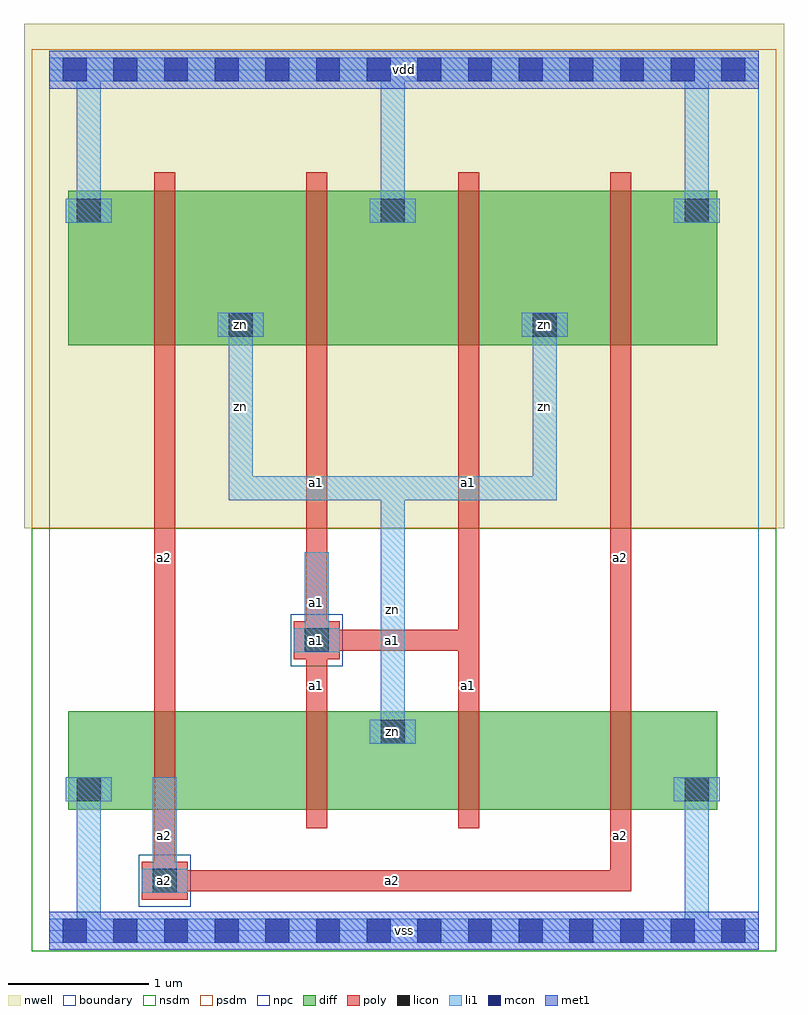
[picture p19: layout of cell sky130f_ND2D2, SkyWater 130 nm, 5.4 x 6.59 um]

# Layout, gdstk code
import gdstk
lib = gdstk.Library(unit=1e-6, precision=1e-09)
def R(c, l, rs):  # rectangles x0, y0, x1, y1
    for r in rs: c.add(gdstk.rectangle(r[:2], r[2:], *l))
def A(c, l, x, y, w, h, nx, ny, dx, dy):  # array of equal rectangles
    R(c, l, [(x+i*dx, y+j*dy, x+i*dx+w, y+j*dy+h) for i in range(nx) for j in range(ny)])
L0_0 = (0, 0)
nwell = (64, 20)
diff = (65, 20)
poly = (66, 20)
licon = (66, 44)
li1 = (67, 20)
mcon = (67, 44)
met1 = (68, 20)
nsdm = (93, 44)
psdm = (94, 20)
npc = (95, 20)
boundary = (235, 4)

sky130f_nd2d2 = lib.new_cell('sky130f_ND2D2')
R(sky130f_nd2d2, nwell, [(-0.18,2.86,5.22,6.445)])
A(sky130f_nd2d2, diff, 0.135, 0.86, 1.37, 0.7, 4, 1, 1.08, 0)
A(sky130f_nd2d2, diff, 0.135, 4.16, 1.37, 1.1, 4, 1, 1.08, 0)
A(sky130f_nd2d2, diff, 0.135, 4.97, 0.29, 0.29, 3, 1, 2.16, 0)
R(sky130f_nd2d2, diff, [(0.135,0.86,0.425,1.15), (4.455,0.86,4.745,1.15), (2.295,1.27,2.585,1.56), (1.215,4.16,1.505,4.45), (3.375,4.16,3.665,4.45)])
A(sky130f_nd2d2, poly, 0.745, 0.73, 0.15, 0.96, 4, 1, 1.08, 0)
A(sky130f_nd2d2, poly, 0.745, 4.03, 0.15, 1.36, 4, 1, 1.08, 0)
R(sky130f_nd2d2, poly, [(0.655,0.22,0.985,0.49), (0.745,0.28,0.895,1.08), (0.745,0.28,4.135,0.43), (3.985,0.28,4.135,1.08), (0.745,0.93,0.895,4.38), (3.985,0.93,4.135,4.38), (1.825,1.34,1.975,2.14), (2.905,1.34,3.055,2.14), (1.735,1.93,2.065,2.2), (1.825,1.99,3.055,2.14), (1.825,1.99,1.975,4.38), (2.905,1.99,3.055,4.38)])
A(sky130f_nd2d2, licon, 0.195, 5.03, 0.17, 0.17, 3, 1, 2.16, 0)
R(sky130f_nd2d2, licon, [(0.735,0.27,0.905,0.44), (0.195,0.92,0.365,1.09), (4.515,0.92,4.685,1.09), (2.355,1.33,2.525,1.5), (1.815,1.98,1.985,2.15), (1.275,4.22,1.445,4.39), (3.435,4.22,3.605,4.39)])
A(sky130f_nd2d2, li1, 0.115, 5.03, 0.33, 0.17, 3, 1, 2.16, 0)
A(sky130f_nd2d2, li1, 0.195, 5.03, 0.17, 1.03, 3, 1, 2.16, 0)
R(sky130f_nd2d2, li1, [(0,-0.085,5.04,0.085), (0.195,0.06,0.365,1.09), (4.515,0.06,4.685,1.09), (0.655,0.27,0.985,0.44), (0.735,0.27,0.905,1.09), (0.115,0.92,0.445,1.09), (4.435,0.92,4.765,1.09), (2.275,1.33,2.605,1.5), (2.355,1.33,2.525,3.23), (1.735,1.98,2.065,2.15), (1.815,1.98,1.985,2.69), (1.275,3.06,2.525,3.23), (1.275,3.06,1.445,4.39), (2.355,3.06,3.605,3.23), (3.435,3.06,3.605,4.39), (1.195,4.22,1.525,4.39), (3.355,4.22,3.685,4.39), (0,6.035,5.04,6.205)])
A(sky130f_nd2d2, mcon, 0.095, -0.085, 0.17, 0.17, 14, 2, 0.36, 6.12)
R(sky130f_nd2d2, met1, [(0,-0.135,5.04,0.135), (0,5.985,5.04,6.255)])
R(sky130f_nd2d2, nsdm, [(-0.125,-0.145,5.165,0.145), (-0.125,0.145,5.165,2.86)])
R(sky130f_nd2d2, psdm, [(-0.125,2.86,5.165,5.975), (-0.125,5.975,5.165,6.265)])
R(sky130f_nd2d2, npc, [(0.635,0.17,1.005,0.54), (1.715,1.88,2.085,2.25)])
R(sky130f_nd2d2, boundary, [(0,0,5.04,6.12)])
sky130f_nd2d2.add(gdstk.FlexPath([(0.115,0.355),(4.765,0.355)], 0, ends="flush", simple_path=True, layer=0, datatype=0))  # L0_0
sky130f_nd2d2.add(gdstk.FlexPath([(0.115,1.005),(4.765,1.005)], 0, ends="flush", simple_path=True, layer=0, datatype=0))  # L0_0
sky130f_nd2d2.add(gdstk.FlexPath([(0.115,1.415),(4.765,1.415)], 0, ends="flush", simple_path=True, layer=0, datatype=0))  # L0_0
sky130f_nd2d2.add(gdstk.FlexPath([(0.115,2.065),(4.765,2.065)], 0, ends="flush", simple_path=True, layer=0, datatype=0))  # L0_0
sky130f_nd2d2.add(gdstk.FlexPath([(0.115,2.605),(4.765,2.605)], 0, ends="flush", simple_path=True, layer=0, datatype=0))  # L0_0
sky130f_nd2d2.add(gdstk.FlexPath([(0.115,3.145),(4.765,3.145)], 0, ends="flush", simple_path=True, layer=0, datatype=0))  # L0_0
sky130f_nd2d2.add(gdstk.FlexPath([(0.115,4.305),(4.765,4.305)], 0, ends="flush", simple_path=True, layer=0, datatype=0))  # L0_0
sky130f_nd2d2.add(gdstk.FlexPath([(0.115,4.775),(4.765,4.775)], 0, ends="flush", simple_path=True, layer=0, datatype=0))  # L0_0
sky130f_nd2d2.add(gdstk.FlexPath([(0.115,5.115),(4.765,5.115)], 0, ends="flush", simple_path=True, layer=0, datatype=0))  # L0_0
sky130f_nd2d2.add(gdstk.FlexPath([(0.115,5.765),(4.765,5.765)], 0, ends="flush", simple_path=True, layer=0, datatype=0))  # L0_0
sky130f_nd2d2.add(gdstk.FlexPath([(0.28,0.06),(0.28,6.06)], 0, ends="flush", simple_path=True, layer=0, datatype=0))  # L0_0
sky130f_nd2d2.add(gdstk.FlexPath([(0.82,0.06),(0.82,6.06)], 0, ends="flush", simple_path=True, layer=0, datatype=0))  # L0_0
sky130f_nd2d2.add(gdstk.FlexPath([(1.36,0.06),(1.36,6.06)], 0, ends="flush", simple_path=True, layer=0, datatype=0))  # L0_0
sky130f_nd2d2.add(gdstk.FlexPath([(1.9,0.06),(1.9,6.06)], 0, ends="flush", simple_path=True, layer=0, datatype=0))  # L0_0
sky130f_nd2d2.add(gdstk.FlexPath([(2.44,0.06),(2.44,6.06)], 0, ends="flush", simple_path=True, layer=0, datatype=0))  # L0_0
sky130f_nd2d2.add(gdstk.FlexPath([(2.98,0.06),(2.98,6.06)], 0, ends="flush", simple_path=True, layer=0, datatype=0))  # L0_0
sky130f_nd2d2.add(gdstk.FlexPath([(3.52,0.06),(3.52,6.06)], 0, ends="flush", simple_path=True, layer=0, datatype=0))  # L0_0
sky130f_nd2d2.add(gdstk.FlexPath([(4.06,0.06),(4.06,6.06)], 0, ends="flush", simple_path=True, layer=0, datatype=0))  # L0_0
sky130f_nd2d2.add(gdstk.FlexPath([(4.6,0.06),(4.6,6.06)], 0, ends="flush", simple_path=True, layer=0, datatype=0))  # L0_0
sky130f_nd2d2.add(gdstk.Label('zn', (2.44,1.415), layer=65, texttype=20))
sky130f_nd2d2.add(gdstk.Label('zn', (1.36,4.305), layer=65, texttype=20))
sky130f_nd2d2.add(gdstk.Label('zn', (3.52,4.305), layer=65, texttype=20))
sky130f_nd2d2.add(gdstk.Label('a1', (1.9,1.74), layer=66, texttype=20))
sky130f_nd2d2.add(gdstk.Label('a1', (2.44,2.065), layer=66, texttype=20))
sky130f_nd2d2.add(gdstk.Label('a1', (2.98,1.74), layer=66, texttype=20))
sky130f_nd2d2.add(gdstk.Label('a1', (2.98,3.185), layer=66, texttype=20))
sky130f_nd2d2.add(gdstk.Label('a1', (1.9,3.185), layer=66, texttype=20))
sky130f_nd2d2.add(gdstk.Label('a1', (1.9,2.065), layer=66, texttype=20))
sky130f_nd2d2.add(gdstk.Label('a2', (0.82,0.68), layer=66, texttype=20))
sky130f_nd2d2.add(gdstk.Label('a2', (2.44,0.355), layer=66, texttype=20))
sky130f_nd2d2.add(gdstk.Label('a2', (4.06,0.68), layer=66, texttype=20))
sky130f_nd2d2.add(gdstk.Label('a2', (0.82,2.655), layer=66, texttype=20))
sky130f_nd2d2.add(gdstk.Label('a2', (4.06,2.655), layer=66, texttype=20))
sky130f_nd2d2.add(gdstk.Label('a2', (0.82,0.355), layer=66, texttype=20))
sky130f_nd2d2.add(gdstk.Label('zn', (2.44,1.415), layer=66, texttype=44))
sky130f_nd2d2.add(gdstk.Label('zn', (1.36,4.305), layer=66, texttype=44))
sky130f_nd2d2.add(gdstk.Label('zn', (3.52,4.305), layer=66, texttype=44))
sky130f_nd2d2.add(gdstk.Label('a1', (1.9,2.065), layer=66, texttype=44))
sky130f_nd2d2.add(gdstk.Label('a2', (0.82,0.355), layer=66, texttype=44))
sky130f_nd2d2.add(gdstk.Label('zn', (2.44,1.415), layer=67, texttype=5))
sky130f_nd2d2.add(gdstk.Label('zn', (1.36,4.305), layer=67, texttype=5))
sky130f_nd2d2.add(gdstk.Label('zn', (3.52,4.305), layer=67, texttype=5))
sky130f_nd2d2.add(gdstk.Label('zn', (2.44,2.28), layer=67, texttype=5))
sky130f_nd2d2.add(gdstk.Label('zn', (1.9,3.145), layer=67, texttype=5))
sky130f_nd2d2.add(gdstk.Label('zn', (1.36,3.725), layer=67, texttype=5))
sky130f_nd2d2.add(gdstk.Label('zn', (2.98,3.145), layer=67, texttype=5))
sky130f_nd2d2.add(gdstk.Label('zn', (3.52,3.725), layer=67, texttype=5))
sky130f_nd2d2.add(gdstk.Label('a1', (1.9,2.065), layer=67, texttype=5))
sky130f_nd2d2.add(gdstk.Label('a1', (1.9,2.335), layer=67, texttype=5))
sky130f_nd2d2.add(gdstk.Label('a2', (0.82,0.355), layer=67, texttype=5))
sky130f_nd2d2.add(gdstk.Label('a2', (0.82,0.68), layer=67, texttype=5))
sky130f_nd2d2.add(gdstk.Label('vss', (2.52,0), layer=67, texttype=5))
sky130f_nd2d2.add(gdstk.Label('vdd', (2.52,6.12), layer=67, texttype=5))
sky130f_nd2d2.add(gdstk.Label('vss', (2.52,0), layer=68, texttype=5))
sky130f_nd2d2.add(gdstk.Label('vdd', (2.52,6.12), layer=68, texttype=5))

lib.write_gds('sky130f_ND2D2.gds')
